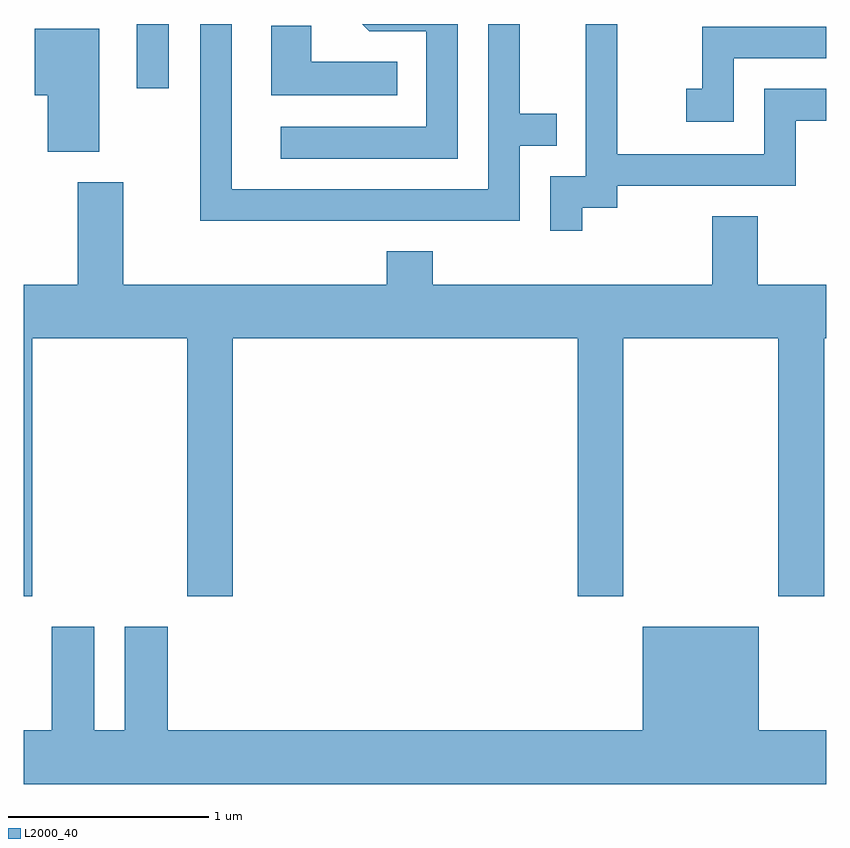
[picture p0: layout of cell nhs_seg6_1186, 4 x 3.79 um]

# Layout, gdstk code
import gdstk
lib = gdstk.Library(unit=1e-6, precision=1e-09)
def R(c, l, rs):  # rectangles x0, y0, x1, y1
    for r in rs: c.add(gdstk.rectangle(r[:2], r[2:], *l))
def P(c, l, *ps):  # polygons
    for p in ps: c.add(gdstk.Polygon(p, *l))
L2000_40 = (2000, 40)

nhs_seg6_1186 = lib.new_cell('nhs_seg6_1186')
R(nhs_seg6_1186, L2000_40, [(220.176,1657.843,220.334,1658.162)])
P(nhs_seg6_1186, L2000_40, [(222.394,1657.246),(222.569,1657.246),(222.569,1657.356),(223.459,1657.356),(223.459,1657.681),(223.611,1657.681),(223.611,1657.839),(223.301,1657.839),(223.301,1657.514),(222.569,1657.514),(222.569,1658.162),(222.411,1658.162),(222.411,1657.404),(222.236,1657.404),(222.236,1657.133),(222.394,1657.133)],
  [(222.084,1657.556),(222.268,1657.556),(222.268,1657.714),(222.084,1657.714),(222.084,1658.162),(221.926,1658.162),(221.926,1657.339),(220.649,1657.339),(220.649,1658.162),(220.491,1658.162),(220.491,1657.181),(222.084,1657.181)],
  [(221.774,1658.162),(221.298,1658.162),(221.334,1658.126),(221.616,1658.126),(221.616,1657.649),(220.893,1657.649),(220.893,1657.491),(221.774,1657.491)],
  [(221.473,1657.974),(221.044,1657.974),(221.044,1658.154),(220.846,1658.154),(220.846,1657.806),(221.473,1657.806)],
  [(223.149,1657.991),(223.611,1657.991),(223.611,1658.149),(222.991,1658.149),(222.991,1657.839),(222.913,1657.839),(222.913,1657.676),(223.149,1657.676)],
  [(219.989,1658.139),(219.666,1658.139),(219.666,1657.806),(219.731,1657.806),(219.731,1657.526),(219.989,1657.526)],
  [(219.654,1656.596),(220.426,1656.596),(220.426,1655.311),(220.654,1655.311),(220.654,1656.596),(222.371,1656.596),(222.371,1655.311),(222.599,1655.311),(222.599,1656.596),(223.371,1656.596),(223.371,1655.311),(223.599,1655.311),(223.599,1656.596),(223.611,1656.596),(223.611,1656.864),(223.269,1656.864),(223.269,1657.204),(223.041,1657.204),(223.041,1656.864),(221.649,1656.864),(221.649,1657.029),(221.421,1657.029),(221.421,1656.864),(220.109,1656.864),(220.109,1657.374),(219.881,1657.374),(219.881,1656.864),(219.611,1656.864),(219.611,1655.311),(219.654,1655.311)],
  [(223.611,1654.644),(223.274,1654.644),(223.274,1655.159),(222.696,1655.159),(222.696,1654.644),(220.329,1654.644),(220.329,1655.159),(220.116,1655.159),(220.116,1654.644),(219.964,1654.644),(219.964,1655.159),(219.751,1655.159),(219.751,1654.644),(219.611,1654.644),(219.611,1654.376),(223.611,1654.376)])

lib.write_gds('nhs_seg6_1186.gds')
